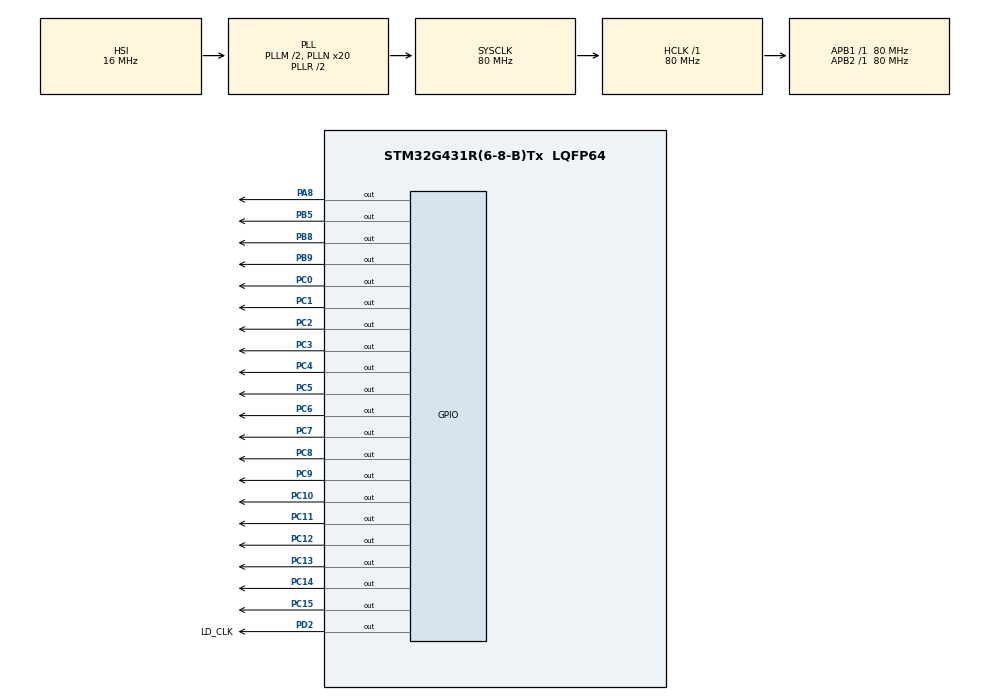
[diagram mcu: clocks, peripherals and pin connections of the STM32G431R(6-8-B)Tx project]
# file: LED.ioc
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Mcu.Family=STM32G4
Mcu.Name=STM32G431R(6-8-B)Tx
Mcu.Package=LQFP64
NVIC.PriorityGroup=NVIC_PRIORITYGROUP_4
PA8.Signal=GPIO_Output
PB5.Signal=GPIO_Output
PB8-BOOT0.Signal=GPIO_Output
PB9.Signal=GPIO_Output
PC0.Signal=GPIO_Output
PC1.Signal=GPIO_Output
PC10.Signal=GPIO_Output
PC11.Signal=GPIO_Output
PC12.Signal=GPIO_Output
PC13.Signal=GPIO_Output
PC14-OSC32_IN.Signal=GPIO_Output
PC15-OSC32_OUT.Signal=GPIO_Output
PC2.Signal=GPIO_Output
PC3.Signal=GPIO_Output
PC4.Signal=GPIO_Output
PC5.Signal=GPIO_Output
PC6.Signal=GPIO_Output
PC7.Signal=GPIO_Output
PC8.Signal=GPIO_Output
PC9.Signal=GPIO_Output
PD2.GPIO_Label=LD_CLK
PD2.Signal=GPIO_Output
PF0-OSC_IN.Mode=HSE-External-Oscillator
PF0-OSC_IN.Signal=RCC_OSC_IN
PF1-OSC_OUT.Mode=HSE-External-Oscillator
PF1-OSC_OUT.Signal=RCC_OSC_OUT
ProjectManager.HeapSize=0x200
ProjectManager.StackSize=0x400
ProjectManager.TargetToolchain=MDK-ARM V5.27
RCC.ADC12Freq_Value=80000000
RCC.AHBFreq_Value=80000000
RCC.APB1Freq_Value=80000000
RCC.APB1TimFreq_Value=80000000
RCC.APB2Freq_Value=80000000
RCC.APB2TimFreq_Value=80000000
RCC.CortexFreq_Value=80000000
RCC.EXTERNAL_CLOCK_VALUE=12288000
RCC.HCLKFreq_Value=80000000
RCC.HSE_VALUE=24000000
RCC.HSI48_VALUE=48000000
RCC.HSI_VALUE=16000000
RCC.LSE_VALUE=32768
RCC.PLLM=RCC_PLLM_DIV2
RCC.PLLN=20
RCC.SYSCLKFreq_VALUE=80000000
RCC.SYSCLKSource=RCC_SYSCLKSOURCE_PLLCLK
RCC.USBFreq_Value=80000000
RCC.VCOOutputFreq_Value=160000000
VP_SYS_VS_DBSignals.Mode=DisableDeadBatterySignals
board=custom

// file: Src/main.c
/* USER CODE BEGIN Header */
/**
  ******************************************************************************
  * @file           : main.c
  * @brief          : Main program body
  ******************************************************************************
  * @attention
  *
  * <h2><center>&copy; Copyright (c) 2021 STMicroelectronics.
  * All rights reserved.</center></h2>
  *
  * This software component is licensed by ST under BSD 3-Clause license,
  * the "License"; You may not use this file except in compliance with the
  * License. You may obtain a copy of the License at:
  *                        opensource.org/licenses/BSD-3-Clause
  *
  ******************************************************************************
  */
/* USER CODE END Header */
#include "main.h"

/* USER CODE BEGIN PV */
uint16_t Led_Val;
/* USER CODE END PV */

void SystemClock_Config(void);
static void MX_GPIO_Init(void);

/* USER CODE BEGIN 0 */
//操作LED的函数
//1 关闭全部LED，避免与LCD起冲突
void TurnOff_LEDS()
{
	Led_Val = 0xFF00;
	HAL_GPIO_WritePin(LD_CLK_GPIO_Port, LD_CLK_Pin, GPIO_PIN_SET);
	GPIOC->ODR = (uint32_t)Led_Val;
	HAL_GPIO_WritePin(LD_CLK_GPIO_Port, LD_CLK_Pin, GPIO_PIN_RESET);
}
//2 关闭LED
void TurnOff_LED(uint8_t i)
{
	Led_Val |= (0x01 << (7 + i));
	HAL_GPIO_WritePin(LD_CLK_GPIO_Port, LD_CLK_Pin, GPIO_PIN_SET);
	GPIOC->ODR = (uint32_t)Led_Val;
	HAL_GPIO_WritePin(LD_CLK_GPIO_Port, LD_CLK_Pin, GPIO_PIN_RESET);
}
//3 打开LED
void TurnOn_LED(uint8_t i)
{
	Led_Val &= ~(0x01 << (7 + i));
	HAL_GPIO_WritePin(LD_CLK_GPIO_Port, LD_CLK_Pin, GPIO_PIN_SET);
	GPIOC->ODR = (uint32_t)Led_Val;
	HAL_GPIO_WritePin(LD_CLK_GPIO_Port, LD_CLK_Pin, GPIO_PIN_RESET);
}
//4 控制LED
void Control_LED(uint8_t i, uint8_t status)
{
	HAL_GPIO_WritePin(LD_CLK_GPIO_Port, LD_CLK_Pin, GPIO_PIN_SET);
	if(status != 0)
	{
		GPIOC->BRR = i << 8;
	}else{
		GPIOC->BSRR = i << 8;
	}
	HAL_GPIO_WritePin(LD_CLK_GPIO_Port, LD_CLK_Pin, GPIO_PIN_RESET);
}
//4 翻转LED
void Toogle_LED(uint8_t i)
{
	HAL_GPIO_WritePin(LD_CLK_GPIO_Port, LD_CLK_Pin, GPIO_PIN_SET);
	HAL_GPIO_TogglePin(GPIOC, i<<8);
	HAL_GPIO_WritePin(LD_CLK_GPIO_Port, LD_CLK_Pin, GPIO_PIN_RESET);
}
/* USER CODE END 0 */

int main(void)
{

  /* MCU Configuration--------------------------------------------------------*/

  /* Reset of all peripherals, Initializes the Flash interface and the Systick. */
  HAL_Init();

  /* Configure the system clock */
  SystemClock_Config();

  /* USER CODE BEGIN SysInit */
	uint8_t led_index = 1;
  /* USER CODE END SysInit */

  /* Initialize all configured peripherals */
  MX_GPIO_Init();
  /* USER CODE BEGIN 2 */
	TurnOff_LEDS();

  /* USER CODE END 2 */

  /* Infinite loop */
  while (1)
  {

    /* USER CODE BEGIN 3 */
		//流水灯操作
//		HAL_Delay(200);
//		TurnOff_LEDS();
//		led_index = led_index % 8 + 1;
//		TurnOn_LED(led_index);
		Toogle_LED(1);
		HAL_Delay(100);
  }
  /* USER CODE END 3 */
}

void SystemClock_Config(void)
{
  RCC_OscInitTypeDef RCC_OscInitStruct = {0};
  RCC_ClkInitTypeDef RCC_ClkInitStruct = {0};

  /** Configure the main internal regulator output voltage
  */
  HAL_PWREx_ControlVoltageScaling(PWR_REGULATOR_VOLTAGE_SCALE1);
  /** Initializes the RCC Oscillators according to the specified parameters
  * in the RCC_OscInitTypeDef structure.
  */
  RCC_OscInitStruct.OscillatorType = RCC_OSCILLATORTYPE_HSI;
  RCC_OscInitStruct.HSIState = RCC_HSI_ON;
  RCC_OscInitStruct.HSICalibrationValue = RCC_HSICALIBRATION_DEFAULT;
  RCC_OscInitStruct.PLL.PLLState = RCC_PLL_ON;
  RCC_OscInitStruct.PLL.PLLSource = RCC_PLLSOURCE_HSI;
  RCC_OscInitStruct.PLL.PLLM = RCC_PLLM_DIV2;
  RCC_OscInitStruct.PLL.PLLN = 20;
  RCC_OscInitStruct.PLL.PLLP = RCC_PLLP_DIV2;
  RCC_OscInitStruct.PLL.PLLQ = RCC_PLLQ_DIV2;
  RCC_OscInitStruct.PLL.PLLR = RCC_PLLR_DIV2;
  if (HAL_RCC_OscConfig(&RCC_OscInitStruct) != HAL_OK)
  {
    Error_Handler();
  }
  /** Initializes the CPU, AHB and APB buses clocks
  */
  RCC_ClkInitStruct.ClockType = RCC_CLOCKTYPE_HCLK|RCC_CLOCKTYPE_SYSCLK
                              |RCC_CLOCKTYPE_PCLK1|RCC_CLOCKTYPE_PCLK2;
  RCC_ClkInitStruct.SYSCLKSource = RCC_SYSCLKSOURCE_PLLCLK;
  RCC_ClkInitStruct.AHBCLKDivider = RCC_SYSCLK_DIV1;
  RCC_ClkInitStruct.APB1CLKDivider = RCC_HCLK_DIV1;
  RCC_ClkInitStruct.APB2CLKDivider = RCC_HCLK_DIV1;

  if (HAL_RCC_ClockConfig(&RCC_ClkInitStruct, FLASH_LATENCY_2) != HAL_OK)
  {
    Error_Handler();
  }
}

static void MX_GPIO_Init(void)
{
  GPIO_InitTypeDef GPIO_InitStruct = {0};

  /* GPIO Ports Clock Enable */
  __HAL_RCC_GPIOC_CLK_ENABLE();
  __HAL_RCC_GPIOF_CLK_ENABLE();
  __HAL_RCC_GPIOA_CLK_ENABLE();
  __HAL_RCC_GPIOD_CLK_ENABLE();
  __HAL_RCC_GPIOB_CLK_ENABLE();

  /*Configure GPIO pin Output Level */
  HAL_GPIO_WritePin(GPIOC, GPIO_PIN_13|GPIO_PIN_14|GPIO_PIN_15|GPIO_PIN_0
                          |GPIO_PIN_1|GPIO_PIN_2|GPIO_PIN_3|GPIO_PIN_4
                          |GPIO_PIN_5|GPIO_PIN_6|GPIO_PIN_7|GPIO_PIN_8
                          |GPIO_PIN_9|GPIO_PIN_10|GPIO_PIN_11|GPIO_PIN_12, GPIO_PIN_RESET);

  /*Configure GPIO pin Output Level */
  HAL_GPIO_WritePin(GPIOA, GPIO_PIN_8, GPIO_PIN_RESET);

  /*Configure GPIO pin Output Level */
  HAL_GPIO_WritePin(LD_CLK_GPIO_Port, LD_CLK_Pin, GPIO_PIN_RESET);

  /*Configure GPIO pin Output Level */
  HAL_GPIO_WritePin(GPIOB, GPIO_PIN_5|GPIO_PIN_8|GPIO_PIN_9, GPIO_PIN_RESET);

  /*Configure GPIO pins : PC13 PC14 PC15 PC0
                           PC1 PC2 PC3 PC4
                           PC5 PC6 PC7 PC8
                           PC9 PC10 PC11 PC12 */
  GPIO_InitStruct.Pin = GPIO_PIN_13|GPIO_PIN_14|GPIO_PIN_15|GPIO_PIN_0
                          |GPIO_PIN_1|GPIO_PIN_2|GPIO_PIN_3|GPIO_PIN_4
                          |GPIO_PIN_5|GPIO_PIN_6|GPIO_PIN_7|GPIO_PIN_8
                          |GPIO_PIN_9|GPIO_PIN_10|GPIO_PIN_11|GPIO_PIN_12;
  GPIO_InitStruct.Mode = GPIO_MODE_OUTPUT_PP;
  GPIO_InitStruct.Pull = GPIO_NOPULL;
  GPIO_InitStruct.Speed = GPIO_SPEED_FREQ_LOW;
  HAL_GPIO_Init(GPIOC, &GPIO_InitStruct);

  /*Configure GPIO pin : PA8 */
  GPIO_InitStruct.Pin = GPIO_PIN_8;
  GPIO_InitStruct.Mode = GPIO_MODE_OUTPUT_PP;
  GPIO_InitStruct.Pull = GPIO_NOPULL;
  GPIO_InitStruct.Speed = GPIO_SPEED_FREQ_LOW;
  HAL_GPIO_Init(GPIOA, &GPIO_InitStruct);

  /*Configure GPIO pin : LD_CLK_Pin */
  GPIO_InitStruct.Pin = LD_CLK_Pin;
  GPIO_InitStruct.Mode = GPIO_MODE_OUTPUT_PP;
  GPIO_InitStruct.Pull = GPIO_NOPULL;
  GPIO_InitStruct.Speed = GPIO_SPEED_FREQ_LOW;
  HAL_GPIO_Init(LD_CLK_GPIO_Port, &GPIO_InitStruct);

  /*Configure GPIO pins : PB5 PB8 PB9 */
  GPIO_InitStruct.Pin = GPIO_PIN_5|GPIO_PIN_8|GPIO_PIN_9;
  GPIO_InitStruct.Mode = GPIO_MODE_OUTPUT_PP;
  GPIO_InitStruct.Pull = GPIO_NOPULL;
  GPIO_InitStruct.Speed = GPIO_SPEED_FREQ_LOW;
  HAL_GPIO_Init(GPIOB, &GPIO_InitStruct);

}

void Error_Handler(void)
{
  __disable_irq();
  while (1)
  {
  }
}

/************************ (C) COPYRIGHT STMicroelectronics *****END OF FILE****/
